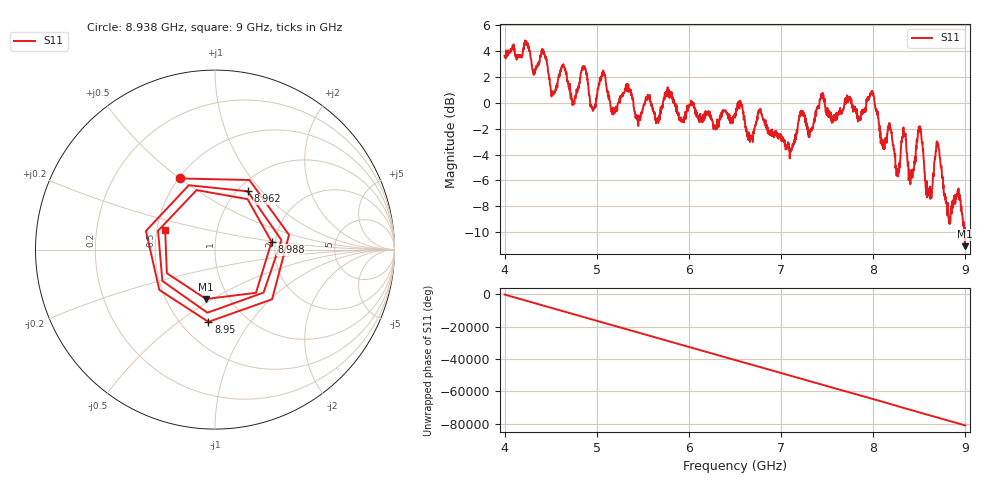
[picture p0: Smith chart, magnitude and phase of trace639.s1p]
! Created with skrf 1.8.0 (http://scikit-rf.org).
# Hz S RI R 50.0
!freq ReS11 ImS11
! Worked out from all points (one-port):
!   1601 points, 4 GHz to 9 GHz, reference 50 ohm
!   lowest |S11| = -11.1 dB at 8.994 GHz (marker M1), VSWR 1.78, Z = 39.1 - j23.3 ohm
!   |S11| at or under -10 dB: 8.991846 GHz to end of sweep
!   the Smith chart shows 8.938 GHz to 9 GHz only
!   S11 on the Smith chart (normalised r, x): 8.938 GHz: 0.51, +0.50; 8.95 GHz: 0.68, -0.65; 8.962 GHz: 1.11, +0.84; 8.988 GHz: 1.91, +0.18; 9 GHz: 0.55, +0.13
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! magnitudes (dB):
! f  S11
! 4 GHz  3.6
! 4.422 GHz  3.7
! 4.528 GHz  0.6
! 4.625 GHz  2.9
! 4.741 GHz  0.0
! 4.856 GHz  2.7
! 4.953 GHz  -0.4
! 5.069 GHz  2.5
! 5.25 GHz  0.2
! 5.875 GHz  -0.8
! 6.5 GHz  -1.2
! 7.125 GHz  -3.2
! 7.222 GHz  -0.7
! 7.75 GHz  0.3
! 7.988 GHz  0.9
! 8.262 GHz  -5.5
! 8.331 GHz  -2.5
! 8.375 GHz  -4.9
! 8.509 GHz  -2.1
! 8.594 GHz  -7.1
! 8.7 GHz  -3.1
! 8.812 GHz  -8.3
! 8.938 GHz  -7.1
! 8.95 GHz  -7.9
! 8.962 GHz  -8.6
! 8.988 GHz  -9.9
! 8.994 GHz  -11.1
! 9 GHz  -10.5
